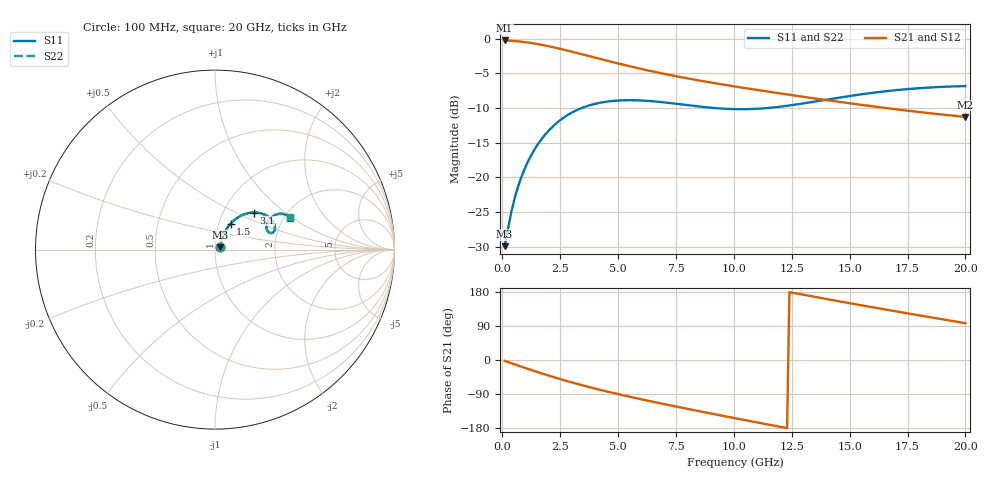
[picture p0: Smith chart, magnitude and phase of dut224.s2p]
! Touchstone file exported from HFSS 2024.1.0
!  File:  C:/UserFiles/LocalFiles/RDL_TSV_Batchsim/temp_RDL_TSV_224_1779449739.aedt
!  Generated:  07:54:24 PM May 22, 2026
!  Design:  RDL_TSV
!  Project:  temp_RDL_TSV_224_1779449739
!  Setup:  Setup1
!  Solution:  Sweep
! Variables:
!  dtsv = 8.59um
!  hbump = 3um
!  htsv = 54.08um
!  ldown = 684.69um
!  lrdl = 528.48um
!  p = 40
!  p1 = 50.17um
!  rhole = 10um
!  subl = 4167.99um
!  t = 450um
!  tdown = 3.53um
!  trdl = 3.63um
!  viad = 10um
!  wdown = 21.32um
!  wrdl = 10.29um
!  xbump = 18um
# GHz S MA R 50.000000
! Terminal data exported
! Port[1] = TM1_1_T1
! Port[2] = TM1_4_T1
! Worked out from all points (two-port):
!   200 points, 100 MHz to 20 GHz, reference 50 ohm
!   highest |S21| = -0.26 dB at 100 MHz (marker M1); lowest = -11.3 dB at 20 GHz (marker M2)
!   |S21| within 3 dB of the highest: start of sweep to 4.619 GHz
!   lowest |S11| = -29.9 dB at 100 MHz (marker M3), VSWR 1.07, Z = 53 + j1.25 ohm
!   |S11| at or under -10 dB: start of sweep to 3.431 GHz; 9.142 GHz to 11.46 GHz (2.323 GHz wide, 22.5 % of centre)
!   |S22| runs from -29.9 to -6.8 dB; largest |S21 - S12| = 1e-14
!   S11 on the Smith chart (normalised r, x): 100 MHz: 1.06, +0.03; 1.5 GHz: 1.14, +0.34; 3.1 GHz: 1.38, +0.63; 20 GHz: 2.15, +0.96
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0.1  0.03191 21.7  0.9704 -2.2  0.9704 -2.2  0.03191 21.7
! Gamma 0 0 0 0
! Port Impedance 50 0 50 0
0.4  0.05728 51.5  0.9647 -8.7  0.9647 -8.7  0.05728 51.5
0.7  0.08765 59.0  0.9555 -15.0  0.9555 -15.0  0.08764 59.0
1.1  0.129 60.7  0.9383 -23.3  0.9383 -23.3  0.129 60.7
1.5  0.1696 59.0  0.9159 -31.4  0.9159 -31.4  0.1696 59.0
1.9  0.2079 55.8  0.8895 -39.2  0.8895 -39.2  0.2079 55.8
2.3  0.2426 52.0  0.8604 -46.7  0.8604 -46.7  0.2427 52.0
2.7  0.2731 47.9  0.8298 -53.9  0.8298 -53.9  0.2731 47.9
3.1  0.2988 43.8  0.7985 -60.8  0.7985 -60.8  0.2988 43.8
3.5  0.3195 39.7  0.7676 -67.4  0.7676 -67.4  0.3195 39.8
4.2  0.3445 33.3  0.7158 -78.4  0.7158 -78.4  0.3445 33.3
5.1  0.3587 26.3  0.6561 -91.4  0.6561 -91.4  0.3586 26.3
5.9  0.3587 21.6  0.6102 -102.3  0.6102 -102.3  0.3586 21.7
6.8  0.3498 18.1  0.566 -114.0  0.566 -114.0  0.3496 18.1
8.4  0.3255 16.4  0.5028 -133.8  0.5028 -133.8  0.3253 16.5
10.1  0.3101 20.2  0.4505 -154.1  0.4505 -154.1  0.3099 20.3
11.7  0.319 25.6  0.4099 -172.9  0.4099 -172.9  0.3192 25.8
13.4  0.3499 29.3  0.3726 167.7  0.3726 167.7  0.3504 29.6
15  0.3861 29.9  0.342 149.9  0.342 149.9  0.387 30.1
16.7  0.4201 28.2  0.3141 131.5  0.3141 131.5  0.4215 28.5
18.3  0.4426 25.7  0.2921 114.7  0.2921 114.7  0.4442 25.9
20  0.4551 23.0  0.273 97.2  0.273 97.2  0.4569 23.2
